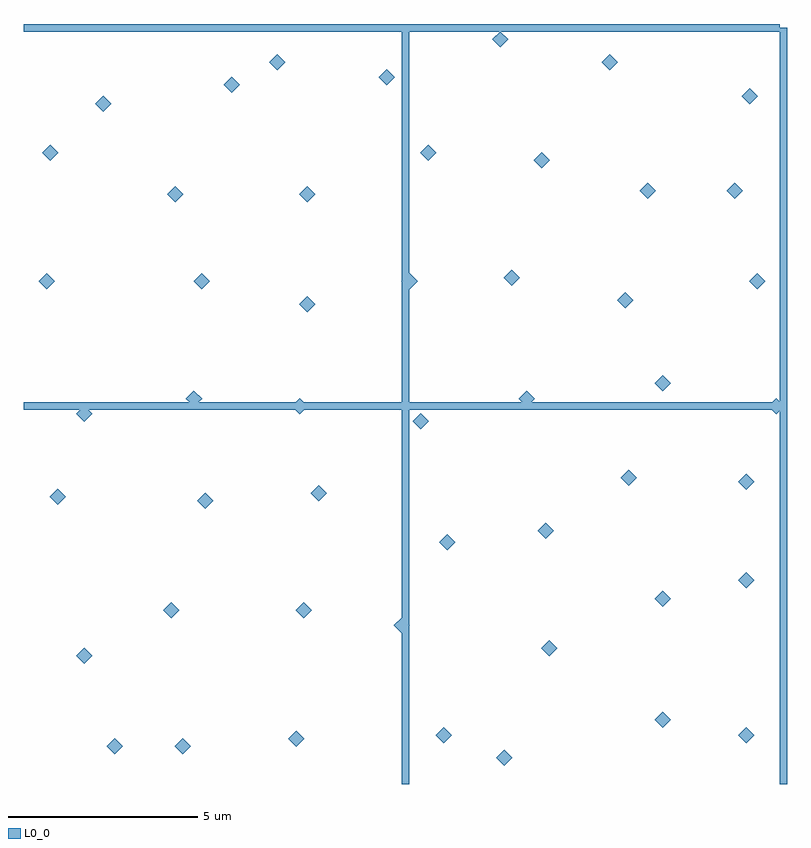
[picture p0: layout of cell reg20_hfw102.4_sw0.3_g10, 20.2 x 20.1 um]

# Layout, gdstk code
import gdstk
lib = gdstk.Library(unit=1e-6, precision=1e-11)
def P(c, l, *ps):  # polygons
    for p in ps: c.add(gdstk.Polygon(p, *l))
L0_0 = (0, 0)

reg20_hfw102_4_sw0_3_g10 = lib.new_cell('reg20_hfw102.4_sw0.3_g10')
P(reg20_hfw102_4_sw0_3_g10, L0_0, [(12.7061,0.4818),(12.4939,0.6939),(12.7061,0.9061),(12.9182,0.6939)],
  [(2.4061,0.7818),(2.1939,0.9939),(2.4061,1.2061),(2.6182,0.9939)],
  [(4.2061,0.7818),(3.9939,0.9939),(4.2061,1.2061),(4.4182,0.9939)],
  [(7.2061,0.9818),(6.9939,1.1939),(7.2061,1.4061),(7.4182,1.1939)],
  [(11.1061,1.0818),(10.8939,1.2939),(11.1061,1.5061),(11.3182,1.2939)],
  [(19.1061,1.0818),(18.8939,1.2939),(19.1061,1.5061),(19.3182,1.2939)],
  [(16.9061,1.4818),(16.6939,1.6939),(16.9061,1.9061),(17.1182,1.6939)],
  [(1.6061,3.1818),(1.3939,3.3939),(1.6061,3.6061),(1.8182,3.3939)],
  [(13.9061,3.3818),(13.6939,3.5939),(13.9061,3.8061),(14.1182,3.5939)],
  [(3.9061,4.3818),(3.6939,4.5939),(3.9061,4.8061),(4.1182,4.5939)],
  [(7.4061,4.3818),(7.1939,4.5939),(7.4061,4.8061),(7.6182,4.5939)],
  [(16.9061,4.6818),(16.6939,4.8939),(16.9061,5.1061),(17.1182,4.8939)],
  [(19.1061,5.1818),(18.8939,5.3939),(19.1061,5.6061),(19.3182,5.3939)],
  [(11.2061,6.1818),(10.9939,6.3939),(11.2061,6.6061),(11.4182,6.3939)],
  [(13.8061,6.4818),(13.5939,6.6939),(13.8061,6.9061),(14.0182,6.6939)],
  [(4.8061,7.2818),(4.5939,7.4939),(4.8061,7.7061),(5.0182,7.4939)],
  [(0.9061,7.3818),(0.6939,7.5939),(0.9061,7.8061),(1.1182,7.5939)],
  [(7.8061,7.4818),(7.5939,7.6939),(7.8061,7.9061),(8.0182,7.6939)],
  [(19.1061,7.7818),(18.8939,7.9939),(19.1061,8.2061),(19.3182,7.9939)],
  [(16.0061,7.8818),(15.7939,8.0939),(16.0061,8.3061),(16.2182,8.0939)],
  [(10.5061,9.3818),(10.2939,9.5939),(10.5061,9.8061),(10.7182,9.5939)],
  [(16.9061,10.3818),(16.6939,10.5939),(16.9061,10.8061),(17.1182,10.5939)],
  [(7.5061,12.4818),(7.2939,12.6939),(7.5061,12.9061),(7.7182,12.6939)],
  [(15.9061,12.5818),(15.6939,12.7939),(15.9061,13.0061),(16.1182,12.7939)],
  [(0.6061,13.0818),(0.3939,13.2939),(0.6061,13.5061),(0.8182,13.2939)],
  [(4.7061,13.0818),(4.4939,13.2939),(4.7061,13.5061),(4.9182,13.2939)],
  [(19.4061,13.0818),(19.1939,13.2939),(19.4061,13.5061),(19.6182,13.2939)],
  [(12.9061,13.1818),(12.6939,13.3939),(12.9061,13.6061),(13.1182,13.3939)],
  [(4.0061,15.3818),(3.7939,15.5939),(4.0061,15.8061),(4.2182,15.5939)],
  [(7.5061,15.3818),(7.2939,15.5939),(7.5061,15.8061),(7.7182,15.5939)],
  [(16.5061,15.4818),(16.2939,15.6939),(16.5061,15.9061),(16.7182,15.6939)],
  [(18.8061,15.4818),(18.5939,15.6939),(18.8061,15.9061),(19.0182,15.6939)],
  [(13.7061,16.2818),(13.4939,16.4939),(13.7061,16.7061),(13.9182,16.4939)],
  [(0.7061,16.4818),(0.4939,16.6939),(0.7061,16.9061),(0.9182,16.6939)],
  [(10.7061,16.4818),(10.4939,16.6939),(10.7061,16.9061),(10.9182,16.6939)],
  [(2.1061,17.7818),(1.8939,17.9939),(2.1061,18.2061),(2.3182,17.9939)],
  [(19.2061,17.9818),(18.9939,18.1939),(19.2061,18.4061),(19.4182,18.1939)],
  [(5.5061,18.2818),(5.2939,18.4939),(5.5061,18.7061),(5.7182,18.4939)],
  [(9.6061,18.4818),(9.3939,18.6939),(9.6061,18.9061),(9.8182,18.6939)],
  [(6.7061,18.8818),(6.4939,19.0939),(6.7061,19.3061),(6.9182,19.0939)],
  [(15.5061,18.8818),(15.2939,19.0939),(15.5061,19.3061),(15.7182,19.0939)],
  [(10,0),(10,3.9879),(9.7939,4.1939),(10,4.4),(10,9.9),(7.4243,9.9),(7.3061,9.7818),(7.1879,9.9),(1.7121,9.9),(1.8182,9.7939),(1.6061,9.5818),(1.3939,9.7939),(1.5,9.9),(0,9.9),(0,10.1),(4.3879,10.1),(4.2939,10.1939),(4.5061,10.4061),(4.7182,10.1939),(4.6243,10.1),(7.2,10.1),(7.3061,10.2061),(7.4121,10.1),(10,10.1),(10,13.2879),(9.9939,13.2939),(10,13.3),(10,19.9),(12.6121,19.9),(12.8182,19.6939),(12.6061,19.4818),(12.3939,19.6939),(12.6,19.9),(10.2,19.9),(10.2,13.5),(10.2061,13.5061),(10.4182,13.2939),(10.2061,13.0818),(10.2,13.0879),(10.2,10.1),(13.1879,10.1),(13.0939,10.1939),(13.3061,10.4061),(13.5182,10.1939),(13.4243,10.1),(19.8,10.1),(19.9061,10.2061),(20,10.1121),(20,19.9),(0,19.9),(0,20.1),(20,20.1),(20,20),(20.2,20),(20.2,0),(20,0),(20,9.8757),(19.9061,9.7818),(19.7879,9.9),(10.2,9.9),(10.2,4.2121),(10.2182,4.1939),(10.2,4.1757),(10.2,0)])

lib.write_gds('reg20_hfw102.4_sw0.3_g10.gds')
